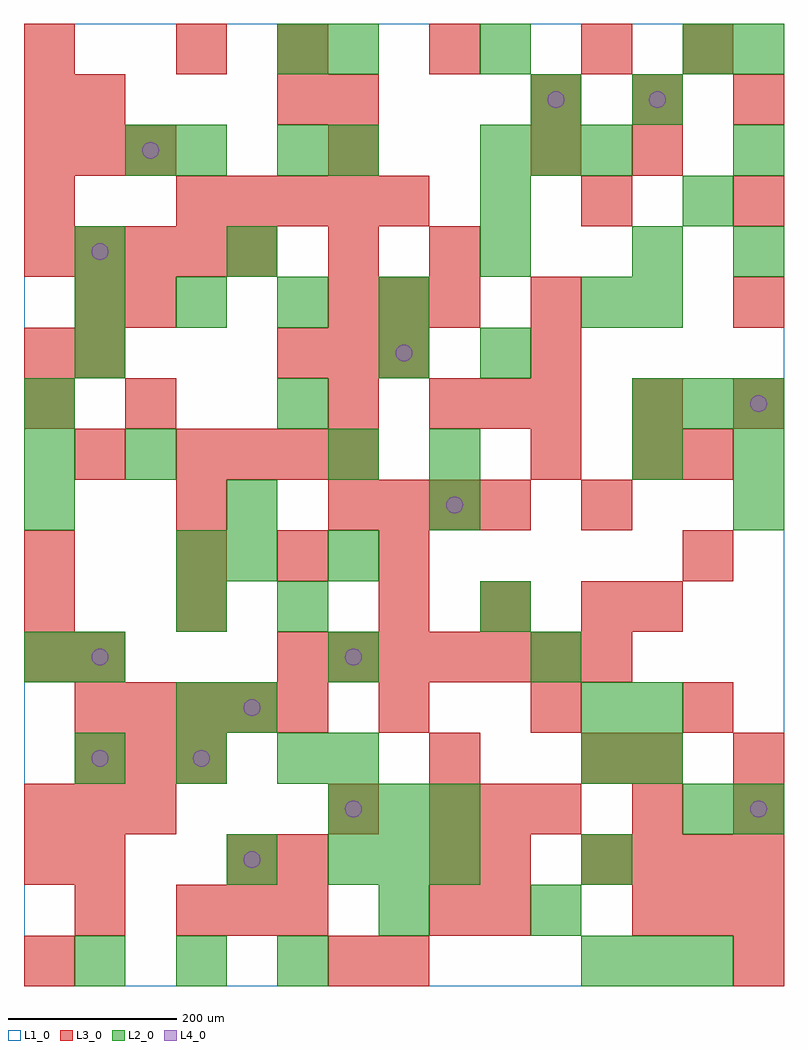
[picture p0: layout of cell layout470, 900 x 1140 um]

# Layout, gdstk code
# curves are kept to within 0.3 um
import gdstk
lib = gdstk.Library(unit=1e-6, precision=1e-09)
def R(c, l, rs):  # rectangles x0, y0, x1, y1
    for r in rs: c.add(gdstk.rectangle(r[:2], r[2:], *l))
def A(c, l, x, y, w, h, nx, ny, dx, dy):  # array of equal rectangles
    R(c, l, [(x+i*dx, y+j*dy, x+i*dx+w, y+j*dy+h) for i in range(nx) for j in range(ny)])
def P(c, l, *ps):  # polygons
    for p in ps: c.add(gdstk.Polygon(p, *l))
L1_0 = (1, 0)
L2_0 = (2, 0)
L3_0 = (3, 0)
L4_0 = (4, 0)

layout470 = lib.new_cell('layout470')
R(layout470, L1_0, [(0,0,900,1140)])
A(layout470, L2_0, 60, 0, 60, 60, 3, 2, 120, 240)
A(layout470, L2_0, 660, 0, 60, 60, 3, 1, 60, 0)
A(layout470, L2_0, 240, 120, 60, 60, 1, 3, 0, 180)
A(layout470, L2_0, 360, 120, 60, 60, 3, 2, 60, 60)
A(layout470, L2_0, 360, 240, 60, 60, 1, 4, 0, 120)
A(layout470, L2_0, 0, 540, 60, 60, 3, 1, 240, 0)
A(layout470, L2_0, 720, 660, 60, 60, 3, 1, 60, 0)
A(layout470, L2_0, 60, 780, 60, 60, 4, 1, 120, 0)
A(layout470, L2_0, 840, 840, 60, 60, 1, 3, 0, 120)
A(layout470, L2_0, 540, 960, 60, 60, 3, 1, 60, 0)
R(layout470, L2_0, [(420,60,480,120), (600,60,660,120), (660,120,720,180), (780,180,840,240), (840,180,900,240), (660,240,720,300), (720,240,780,300), (180,300,240,360), (660,300,720,360), (720,300,780,360), (0,360,60,420), (60,360,120,420), (600,360,660,420), (180,420,240,480), (300,420,360,480), (540,420,600,480), (180,480,240,540), (840,540,900,600), (0,600,60,660), (120,600,180,660), (480,600,540,660), (720,600,780,660), (840,600,900,660), (0,660,60,720), (300,660,360,720), (60,720,120,780), (420,720,480,780), (540,720,600,780), (660,780,720,840), (720,780,780,840), (60,840,120,900), (240,840,300,900), (540,840,600,900), (720,840,780,900), (540,900,600,960), (780,900,840,960), (120,960,180,1020), (180,960,240,1020), (300,960,360,1020), (360,960,420,1020), (600,1020,660,1080), (720,1020,780,1080), (300,1080,360,1140), (360,1080,420,1140), (540,1080,600,1140), (780,1080,840,1140)])
A(layout470, L3_0, 180, 60, 60, 60, 3, 1, 60, 0)
A(layout470, L3_0, 720, 60, 60, 60, 3, 1, 60, 0)
A(layout470, L3_0, 60, 120, 60, 60, 1, 3, 0, 240)
A(layout470, L3_0, 660, 120, 60, 60, 4, 1, 60, 0)
A(layout470, L3_0, 0, 180, 60, 60, 3, 2, 60, 780)
A(layout470, L3_0, 480, 180, 60, 60, 3, 2, 60, 480)
A(layout470, L3_0, 60, 240, 60, 60, 3, 1, 60, 0)
A(layout470, L3_0, 720, 240, 60, 60, 1, 3, 0, 180)
A(layout470, L3_0, 60, 300, 60, 60, 5, 1, 60, 0)
A(layout470, L3_0, 420, 300, 60, 60, 3, 1, 180, 0)
A(layout470, L3_0, 0, 360, 60, 60, 1, 3, 0, 60)
A(layout470, L3_0, 300, 360, 60, 60, 7, 1, 60, 0)
A(layout470, L3_0, 420, 420, 60, 60, 3, 1, 120, 0)
A(layout470, L3_0, 180, 480, 60, 60, 3, 1, 120, 0)
A(layout470, L3_0, 360, 540, 60, 60, 4, 1, 60, 0)
A(layout470, L3_0, 180, 600, 60, 60, 4, 1, 60, 0)
A(layout470, L3_0, 840, 660, 60, 60, 1, 3, 0, 120)
A(layout470, L3_0, 300, 720, 60, 60, 3, 1, 60, 0)
A(layout470, L3_0, 360, 780, 60, 60, 3, 1, 60, 0)
A(layout470, L3_0, 0, 840, 60, 60, 5, 1, 60, 0)
A(layout470, L3_0, 180, 900, 60, 60, 5, 1, 60, 0)
A(layout470, L3_0, 600, 1020, 60, 60, 3, 1, 120, 0)
A(layout470, L3_0, 300, 1080, 60, 60, 3, 1, 180, 0)
R(layout470, L3_0, [(0,0,60,60), (360,0,420,60), (420,0,480,60), (840,0,900,60), (60,60,120,120), (480,60,540,120), (540,60,600,120), (0,120,60,180), (240,120,300,180), (300,120,360,180), (480,120,540,180), (540,120,600,180), (360,180,420,240), (720,180,780,240), (840,180,900,240), (480,240,540,300), (660,240,720,300), (840,240,900,300), (180,420,240,480), (780,480,840,540), (180,540,240,600), (660,540,720,600), (600,600,660,660), (780,600,840,660), (0,660,60,720), (120,660,180,720), (360,660,420,720), (720,660,780,720), (0,720,60,780), (60,720,120,780), (600,720,660,780), (60,780,120,840), (120,780,180,840), (600,780,660,840), (360,840,420,900), (480,840,540,900), (0,900,60,960), (660,900,720,960), (360,960,420,1020), (600,960,660,1020), (720,960,780,1020), (0,1020,60,1080), (60,1020,120,1080), (300,1020,360,1080), (360,1020,420,1080), (0,1080,60,1140), (180,1080,240,1140), (780,1080,840,1140)])
P(layout470, L4_0, [(100,270),(99.239,273.827),(97.071,277.071),(93.827,279.239),(90,280),(86.173,279.239),(82.929,277.071),(80.761,273.827),(80,270),(80.761,266.173),(82.929,262.929),(86.173,260.761),(90,260),(93.827,260.761),(97.071,262.929),(99.239,266.173)],
  [(100,390),(99.239,393.827),(97.071,397.071),(93.827,399.239),(90,400),(86.173,399.239),(82.929,397.071),(80.761,393.827),(80,390),(80.761,386.173),(82.929,382.929),(86.173,380.761),(90,380),(93.827,380.761),(97.071,382.929),(99.239,386.173)],
  [(100,870),(99.239,873.827),(97.071,877.071),(93.827,879.239),(90,880),(86.173,879.239),(82.929,877.071),(80.761,873.827),(80,870),(80.761,866.173),(82.929,862.929),(86.173,860.761),(90,860),(93.827,860.761),(97.071,862.929),(99.239,866.173)],
  [(160,990),(159.239,993.827),(157.071,997.071),(153.827,999.239),(150,1000),(146.173,999.239),(142.929,997.071),(140.761,993.827),(140,990),(140.761,986.173),(142.929,982.929),(146.173,980.761),(150,980),(153.827,980.761),(157.071,982.929),(159.239,986.173)],
  [(220,270),(219.239,273.827),(217.071,277.071),(213.827,279.239),(210,280),(206.173,279.239),(202.929,277.071),(200.761,273.827),(200,270),(200.761,266.173),(202.929,262.929),(206.173,260.761),(210,260),(213.827,260.761),(217.071,262.929),(219.239,266.173)],
  [(280,150),(279.239,153.827),(277.071,157.071),(273.827,159.239),(270,160),(266.173,159.239),(262.929,157.071),(260.761,153.827),(260,150),(260.761,146.173),(262.929,142.929),(266.173,140.761),(270,140),(273.827,140.761),(277.071,142.929),(279.239,146.173)],
  [(280,330),(279.239,333.827),(277.071,337.071),(273.827,339.239),(270,340),(266.173,339.239),(262.929,337.071),(260.761,333.827),(260,330),(260.761,326.173),(262.929,322.929),(266.173,320.761),(270,320),(273.827,320.761),(277.071,322.929),(279.239,326.173)],
  [(400,210),(399.239,213.827),(397.071,217.071),(393.827,219.239),(390,220),(386.173,219.239),(382.929,217.071),(380.761,213.827),(380,210),(380.761,206.173),(382.929,202.929),(386.173,200.761),(390,200),(393.827,200.761),(397.071,202.929),(399.239,206.173)],
  [(400,390),(399.239,393.827),(397.071,397.071),(393.827,399.239),(390,400),(386.173,399.239),(382.929,397.071),(380.761,393.827),(380,390),(380.761,386.173),(382.929,382.929),(386.173,380.761),(390,380),(393.827,380.761),(397.071,382.929),(399.239,386.173)],
  [(460,750),(459.239,753.827),(457.071,757.071),(453.827,759.239),(450,760),(446.173,759.239),(442.929,757.071),(440.761,753.827),(440,750),(440.761,746.173),(442.929,742.929),(446.173,740.761),(450,740),(453.827,740.761),(457.071,742.929),(459.239,746.173)],
  [(520,570),(519.239,573.827),(517.071,577.071),(513.827,579.239),(510,580),(506.173,579.239),(502.929,577.071),(500.761,573.827),(500,570),(500.761,566.173),(502.929,562.929),(506.173,560.761),(510,560),(513.827,560.761),(517.071,562.929),(519.239,566.173)],
  [(640,1050),(639.239,1053.827),(637.071,1057.071),(633.827,1059.239),(630,1060),(626.173,1059.239),(622.929,1057.071),(620.761,1053.827),(620,1050),(620.761,1046.173),(622.929,1042.929),(626.173,1040.761),(630,1040),(633.827,1040.761),(637.071,1042.929),(639.239,1046.173)],
  [(760,1050),(759.239,1053.827),(757.071,1057.071),(753.827,1059.239),(750,1060),(746.173,1059.239),(742.929,1057.071),(740.761,1053.827),(740,1050),(740.761,1046.173),(742.929,1042.929),(746.173,1040.761),(750,1040),(753.827,1040.761),(757.071,1042.929),(759.239,1046.173)],
  [(880,210),(879.239,213.827),(877.071,217.071),(873.827,219.239),(870,220),(866.173,219.239),(862.929,217.071),(860.761,213.827),(860,210),(860.761,206.173),(862.929,202.929),(866.173,200.761),(870,200),(873.827,200.761),(877.071,202.929),(879.239,206.173)],
  [(880,690),(879.239,693.827),(877.071,697.071),(873.827,699.239),(870,700),(866.173,699.239),(862.929,697.071),(860.761,693.827),(860,690),(860.761,686.173),(862.929,682.929),(866.173,680.761),(870,680),(873.827,680.761),(877.071,682.929),(879.239,686.173)])

lib.write_gds('layout470.gds')
